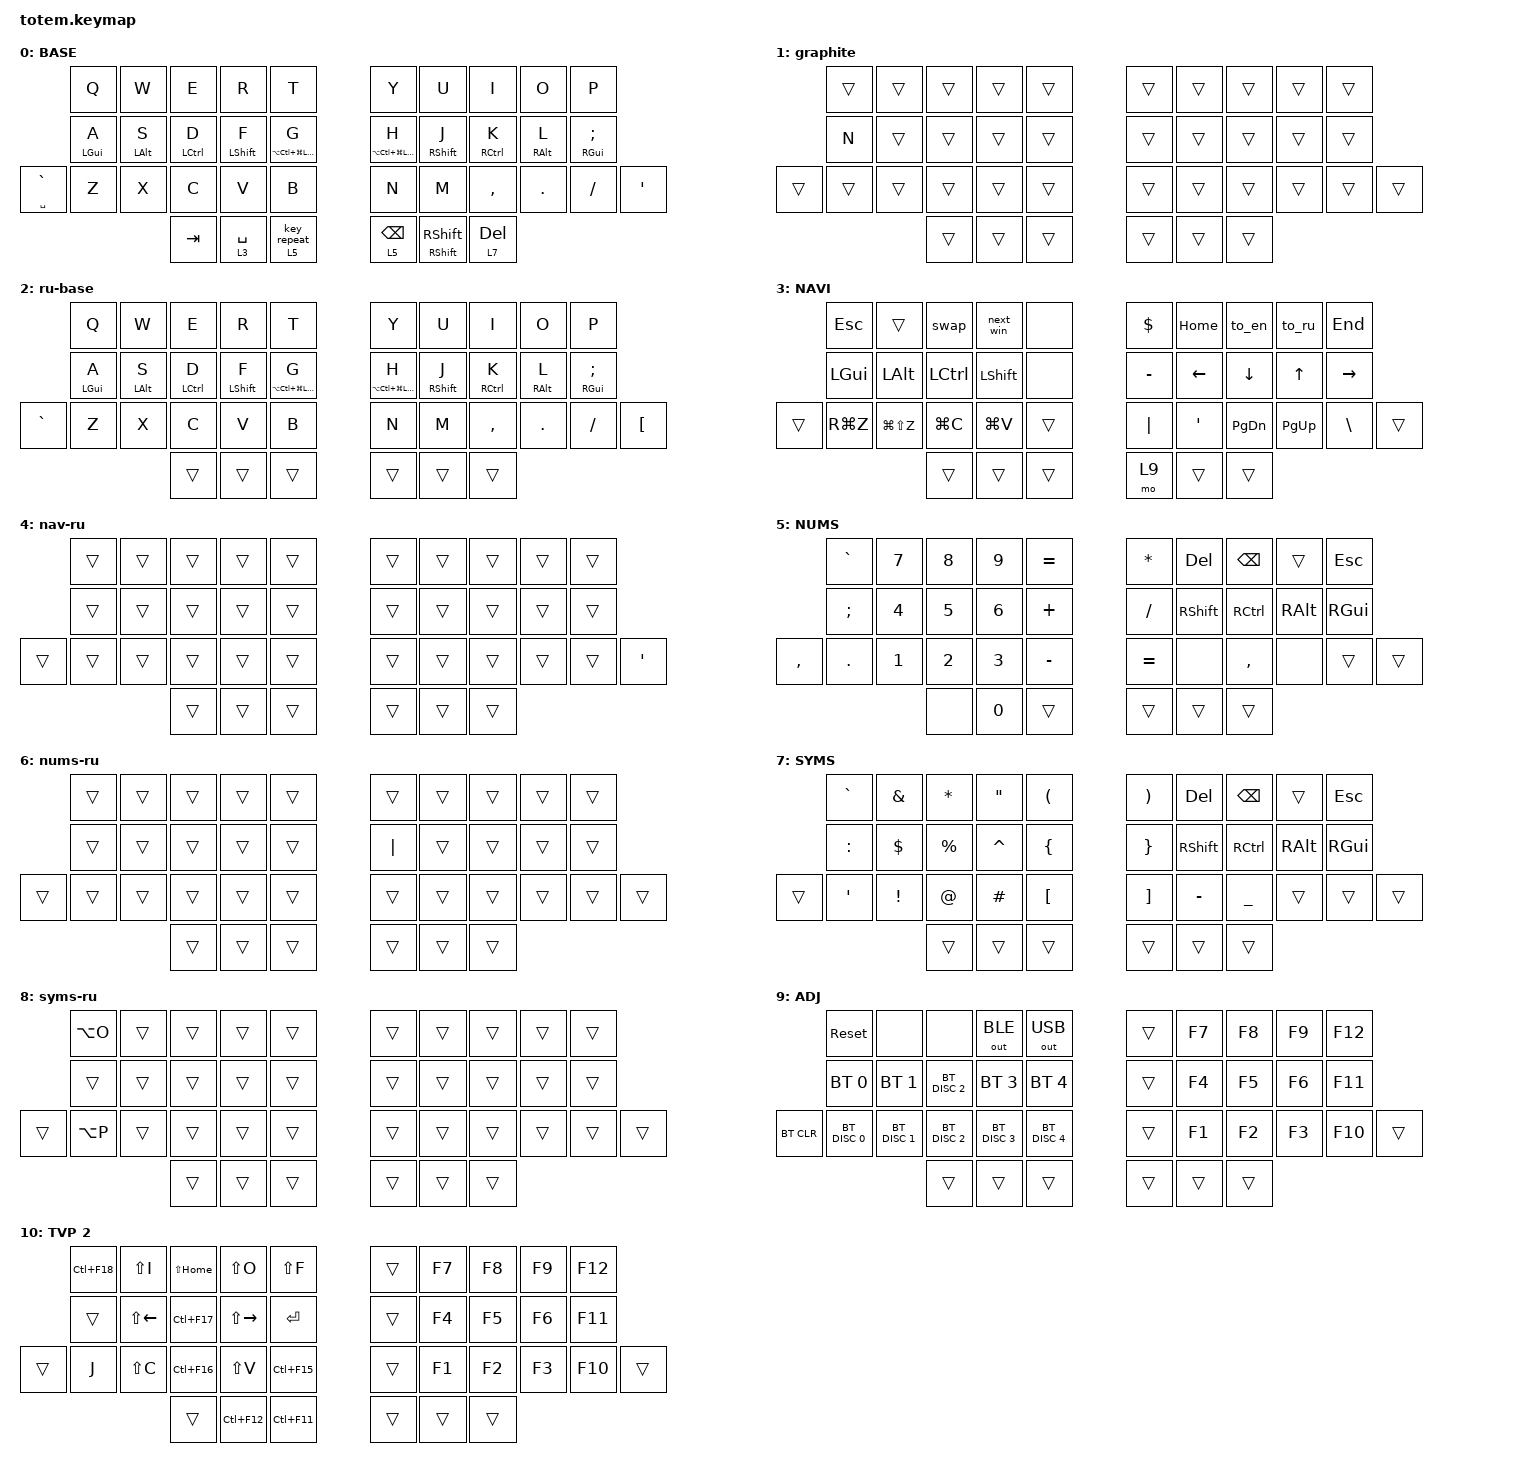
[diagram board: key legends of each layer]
//
//                                                        ▀▀▀▀▀     ▀▀▀▀▀          ▀▀█▀▀
//                                                        ▄▀▀▀▄  ▄  ▄▀▀▀▄  ▄  ▄▀▀▀▄  █  ▄▀▀▀▄
//                                                        █   █  █  █   █  █  █   █  █  █   █
//                                                         ▀▀▀   █   ▀▀▀   █   ▀▀▀   ▀   ▀▀▀
//                                                               █      ▄▄▄█▄▄▄    █   █  
//                                                               ▀      █  █  █     █▄█
//                                                             ▀▀▀▀▀    █  █  █      ▀
//                                                                      ▀  ▀  ▀
//
// ▄▄▄▄▄▄▄▄▄▄▄▄▄▄▄▄▄▄▄▄▄▄▄▄▄▄▄▄▄▄▄▄▄▄▄▄▄▄▄▄▄▄▄▄▄▄▄▄▄▄▄▄▄▄▄▄▄▄▄▄▄▄▄▄▄▄▄▄▄▄▄▄▄▄▄▄▄▄▄▄▄▄▄▄▄▄▄▄▄▄▄▄▄▄▄▄▄▄▄▄▄▄▄▄▄▄▄▄▄▄▄▄▄▄▄▄▄▄▄▄▄▄▄▄▄▄▄▄▄▄▄▄▄▄▄▄▄▄▄▄▄▄▄▄▄▄▄▄▄

#define HOST_OS 2

#include <zmk-helpers/helper.h>

// Source unicode-chars for desired languages

#include <zmk-helpers/unicode-chars/german.dtsi>
#include <behaviors.dtsi>
#include <dt-bindings/zmk/bt.h>
#include <dt-bindings/zmk/keys.h>
#include <dt-bindings/zmk/outputs.h>

#define BASE 0
#define NAV  1
#define SYM  2
#define ADJ  3
#define TVP1 4
#define TVP2 5

&mt {
    quick-tap-ms = <100>;
    global-quick-tap;
    flavor = "tap-preferred";
    tapping-term-ms = <170>;
};

#define COMBO_REQUIRE_PRIOR_IDLE_MS 100
#define LEFT_KEYS  0 1 2 3 4 10 11 12 13 14 20 21 22 23 24 25
#define RIGHT_KEYS 5 6 7 8 9 15 16 17 18 19 26 27 28 29 30 31
#define LEFT_THUMBS  32 33 34
#define RIGHT_THUMBS 35 36 37
#define THUMBS LEFT_THUMBS RIGHT_THUMBS

/ {
    behaviors {
        lht: left_positional_hold_tap {
            compatible = "zmk,behavior-hold-tap";
            flavor = "balanced";
            tapping-term-ms = <250>;
            quick-tap-ms = <175>;
            require-prior-idle-ms = <150>;
            bindings = <&kp>, <&kp>;

            hold-trigger-on-release;
            hold-trigger-key-positions = <RIGHT_KEYS THUMBS>;
            #binding-cells = <2>;
        };

        rht: right_positional_hold_tap {
            compatible = "zmk,behavior-hold-tap";
            flavor = "balanced";
            tapping-term-ms = <280>;
            quick-tap-ms = <175>;
            require-prior-idle-ms = <150>;
            bindings = <&kp>, <&kp>;

            hold-trigger-on-release;
            hold-trigger-key-positions = <LEFT_KEYS THUMBS>;
            #binding-cells = <2>;
        };

        /* ───── Magic Shift: tap = sticky, hold = normal ───── */

        hs: hold_sticky {
            compatible = "zmk,behavior-hold-tap";
            #binding-cells = <2>;
            flavor = "hold-preferred";
            tapping-term-ms = <200>;
            bindings = <&kp>, <&sk>;

            display-name = "Hold-Sticky";
        };

        mod_repeat: mod_repeat {
            compatible = "zmk,behavior-hold-tap";
            bindings = <&mo>, <&key_repeat>;

            #binding-cells = <2>;
            tapping-term-ms = <200>;
            quick-tap-ms = <175>;
        };

        swap: swapper {
            compatible = "zmk,behavior-tri-state";
            #binding-cells = <0>;
            bindings = <&kt LGUI>, <&kp TAB>, <&kt LGUI>;

            ignored-key-positions = <16 17 18 19>;
        };

        next_win: next_window {
            compatible = "zmk,behavior-tri-state";
            #binding-cells = <0>;
            bindings = <&kt LGUI>, <&kp GRAVE>, <&kt LGUI>;

            ignored-key-positions = <16 17 18 19>;
        };

        leader: leader {
            compatible = "zmk,behavior-leader-key";
            #binding-cells = <0>;

            de_ae {
                sequence = <A E>;
                bindings = <&de_ae>;
            };

            de_oe {
                sequence = <O E>;
                bindings = <&de_oe>;
            };

            de_ue {
                sequence = <U E>;
                bindings = <&de_ue>;
            };
        };
    };

    combos {
        compatible = "zmk,combos";

        combo_esc {
            timeout-ms = <50>;
            key-positions = <0 1>;
            bindings = <&kp ESC>;
            require-prior-idle-ms = <COMBO_REQUIRE_PRIOR_IDLE_MS>;
        };

        enter {
            bindings = <&kp ENTER>;
            key-positions = <16 17 18>;
            require-prior-idle-ms = <COMBO_REQUIRE_PRIOR_IDLE_MS>;
        };

        minus {
            bindings = <&kp MINUS>;
            key-positions = <7 8>;
            require-prior-idle-ms = <COMBO_REQUIRE_PRIOR_IDLE_MS>;
        };

        left-bracket {
            bindings = <&kp LEFT_BRACKET>;
            key-positions = <27 28>;
        };

        right_bracket {
            bindings = <&kp RIGHT_BRACKET>;
            key-positions = <28 29>;
        };

        tab {
            bindings = <&kp TAB>;
            key-positions = <11 12 13>;
        };

        caps-word {
            bindings = <&caps_word>;
            key-positions = <13 16>;
        };

        left_par {
            bindings = <&kp LEFT_PARENTHESIS>;
            key-positions = <22 23>;
        };

        leader {
            bindings = <&leader>;
            key-positions = <11 12>;
        };

        right_par {
            bindings = <&kp RIGHT_PARENTHESIS>;
            key-positions = <23 24>;
        };
    };

    macros {
        gif: gif {
            label = "giphy";
            compatible = "zmk,behavior-macro";
            #binding-cells = <0>;
            bindings =
                <&macro_press>,
                <&kp LSHFT>,
                <&macro_tap>,
                <&kp N2>,
                <&macro_release>,
                <&kp LSHFT>,
                <&macro_tap>,
                <&kp G &kp I &kp F>;
        };

        to_en: to_en {
            compatible = "zmk,behavior-macro";
            #binding-cells = <0>;
            bindings = <&kp LS(LC(LA(F18))) &to 0>;
            label = "TO_EN";
        };

        to_ru: to_ru {
            compatible = "zmk,behavior-macro";
            #binding-cells = <0>;
            bindings = <&kp LS(LA(LC(F19))) &to 2>;
            label = "TO_RU";
        };
    };

    keymap {
        compatible = "zmk,keymap";

        // ▄▄▄▄▄▄▄▄▄▄▄▄▄▄▄▄▄▄▄▄▄▄▄▄▄▄▄▄▄▄▄▄▄▄▄▄▄▄▄▄▄▄▄▄▄▄▄▄▄▄▄▄▄▄▄▄▄▄▄▄▄▄▄▄▄▄▄▄▄▄▄▄▄▄▄▄▄▄▄▄▄▄▄▄▄▄▄▄▄▄▄▄▄▄▄▄▄▄▄▄▄▄▄▄▄▄▄▄▄▄▄▄▄▄▄▄▄▄▄▄▄▄▄▄▄▄▄▄▄▄▄▄▄▄▄▄▄▄▄▄▄▄▄▄▄▄▄▄▄

        qwerty_layer {
            // ┏━━━━━━━━━━━━━━━━━━━━━━━━━━━━━━━━━━━━━━━┓

            label = "BASE";

            // ┗━━━━━━━━━━━━━━━━━━━━━━━━━━━━━━━━━━━━━━━┛
            //             ┏━━━━━━━━━━━┳━━━━━━━━━━━┳━━━━━━━━━━━┳━━━━━━━━━━━┳━━━━━━━━━━━┓   ┏━━━━━━━━━━━┳━━━━━━━━━━━┳━━━━━━━━━━━┳━━━━━━━━━━━┳━━━━━━━━━━━┓
            //             ┃     Q     ┃     W     ┃     F     ┃     P     ┃     G     ┃   ┃     J     ┃     L     ┃     U     ┃     Y     ┃     ;     ┃
            //             ┣━━━━━━━━━━━╋━━━━━━━━━━━╋━━━━━━━━━━━╋━━━━━━━━━━━╋━━━━━━━━━━━┫   ┣━━━━━━━━━━━╋━━━━━━━━━━━╋━━━━━━━━━━━╋━━━━━━━━━━━╋━━━━━━━━━━━┫
            //             ┃     A     ┃     R     ┃     S     ┃     T     ┃     D     ┃   ┃     H     ┃     N     ┃     E     ┃     I     ┃     O     ┃
            // ┏━━━━━━━━━━━╋━━━━━━━━━━━╋━━━━━━━━━━━╋━━━━━━━━━━━╋━━━━━━━━━━━╋━━━━━━━━━━━┫   ┣━━━━━━━━━━━╋━━━━━━━━━━━╋━━━━━━━━━━━╋━━━━━━━━━━━╋━━━━━━━━━━━╋━━━━━━━━━━━┓
            // ┃     Q     ┃     Z     ┃     X     ┃     C     ┃     V     ┃     B     ┃   ┃     K     ┃     M     ┃     ,     ┃     .     ┃     /     ┃     \     ┃
            // ┗━━━━━━━━━━━┻━━━━━━━━━━━┻━━━━━━━━━━━╋━━━━━━━━━━━╋━━━━━━━━━━━╋━━━━━━━━━━━┫   ┣━━━━━━━━━━━╋━━━━━━━━━━━╋━━━━━━━━━━━╋━━━━━━━━━━━┻━━━━━━━━━━━┻━━━━━━━━━━━┛
            //                                     ┃    DEL    ┃    TAB    ┃    SPC    ┃   ┃   ENTER   ┃           ┃   BSPC    ┃
            //                                     ┗━━━━━━━━━━━┻━━━━━━━━━━━┻━━━━━━━━━━━┛   ┗━━━━━━━━━━━┻━━━━━━━━━━━┻━━━━━━━━━━━┛

            bindings = <
                 &kp Q        &kp W        &kp E         &kp R         &kp T                            &kp Y                          &kp U                        &kp I         &kp O        &kp P
                 &lht LGUI A  &lht LALT S  &lht LCTRL D  &lht LSHFT F  &lht LA(LC(LG(LEFT_SHIFT))) G    &rht LA(LC(LG(LEFT_SHIFT))) H  &rht RSHFT J                 &rht RCTRL K  &rht RALT L  &rht RGUI SEMICOLON
&mt SPACE GRAVE  &kp Z        &kp X        &kp C         &kp V         &kp B                            &kp N                          &kp M                        &kp COMMA     &kp DOT      &kp FSLH             &kp APOSTROPHE
                                           &kp TAB       &lt 3 SPACE   &mod_repeat 5 0                  &lt 5 BACKSPACE                &hs RIGHT_SHIFT RIGHT_SHIFT  &lt 7 DELETE
            >;
        };

        graphite {
            bindings = <
        &trans  &trans  &trans  &trans  &trans    &trans  &trans  &trans  &trans  &trans
        &kp N   &trans  &trans  &trans  &trans    &trans  &trans  &trans  &trans  &trans
&trans  &trans  &trans  &trans  &trans  &trans    &trans  &trans  &trans  &trans  &trans  &trans
                        &trans  &trans  &trans    &trans  &trans  &trans
            >;
        };

        ru_layer {
            label = "ru-base";
            bindings = <
           &kp Q        &kp W        &kp E         &kp R         &kp T                            &kp Y                          &kp U         &kp I         &kp O        &kp P
           &lht LGUI A  &lht LALT S  &lht LCTRL D  &lht LSHFT F  &lht LA(LC(LG(LEFT_SHIFT))) G    &rht LA(LC(LG(LEFT_SHIFT))) H  &rht RSHFT J  &rht RCTRL K  &rht RALT L  &rht RGUI SEMICOLON
&kp GRAVE  &kp Z        &kp X        &kp C         &kp V         &kp B                            &kp N                          &kp M         &kp COMMA     &kp DOT      &kp FSLH             &kp LEFT_BRACKET
                                     &trans        &trans        &trans                           &trans                         &trans        &trans
            >;
        };

        nav_layer {
            // ┏━━━━━━━━━━━━━━━━━━━━━━━━━━━━━━━━━━━━━━━┓

            label = "NAVI";

            // ┗━━━━━━━━━━━━━━━━━━━━━━━━━━━━━━━━━━━━━━━┛
            //             ┏━━━━━━━━━━━┳━━━━━━━━━━━┳━━━━━━━━━━━┳━━━━━━━━━━━┳━━━━━━━━━━━┓   ┏━━━━━━━━━━━┳━━━━━━━━━━━┳━━━━━━━━━━━┳━━━━━━━━━━━┳━━━━━━━━━━━┓
            //             ┃           ┃           ┃     UP    ┃           ┃     {     ┃   ┃     }     ┃     7     ┃     8     ┃     9     ┃     +     ┃
            //             ┣━━━━━━━━━━━╋━━━━━━━━━━━╋━━━━━━━━━━━╋━━━━━━━━━━━╋━━━━━━━━━━━┫   ┣━━━━━━━━━━━╋━━━━━━━━━━━╋━━━━━━━━━━━╋━━━━━━━━━━━╋━━━━━━━━━━━┫
            //             ┃   SHIFT   ┃   LEFT    ┃    DOWN   ┃   RIGHT   ┃     [     ┃   ┃     ]     ┃     4     ┃     5     ┃     6     ┃     -     ┃
            // ┏━━━━━━━━━━━╋━━━━━━━━━━━╋━━━━━━━━━━━╋━━━━━━━━━━━╋━━━━━━━━━━━╋━━━━━━━━━━━┫   ┣━━━━━━━━━━━╋━━━━━━━━━━━╋━━━━━━━━━━━╋━━━━━━━━━━━╋━━━━━━━━━━━╋━━━━━━━━━━━┓
            // ┃           ┃           ┃   P UP    ┃  C LOCK   ┃  P DOWN   ┃     (     ┃   ┃     )     ┃     1     ┃     2     ┃     3     ┃     *     ┃           ┃
            // ┗━━━━━━━━━━━┻━━━━━━━━━━━┻━━━━━━━━━━━╋━━━━━━━━━━━╋━━━━━━━━━━━╋━━━━━━━━━━━┫   ┣━━━━━━━━━━━╋━━━━━━━━━━━╋━━━━━━━━━━━╋━━━━━━━━━━━┻━━━━━━━━━━━┻━━━━━━━━━━━┛
            //                                     ┃           ┃    TAB    ┃    SPC    ┃   ┃    DEL    ┃     0     ┃           ┃
            //                                     ┗━━━━━━━━━━━┻━━━━━━━━━━━┻━━━━━━━━━━━┛   ┗━━━━━━━━━━━┻━━━━━━━━━━━┻━━━━━━━━━━━┛

            bindings = <
        &kp ESC    &trans         &swap      &next_win  &none     &kp DOLLAR  &kp HOME        &to_en          &to_ru        &kp END
        &kp LGUI   &kp LALT       &kp LCTRL  &kp LSHFT  &none     &kp MINUS   &kp LEFT_ARROW  &kp DOWN_ARROW  &kp UP_ARROW  &kp RIGHT_ARROW
&trans  &kp RG(Z)  &kp LG(LS(Z))  &kp LG(C)  &kp LG(V)  &trans    &kp PIPE    &kp SQT         &kp PAGE_DOWN   &kp PAGE_UP   &kp BACKSLASH    &trans
                                  &trans     &trans     &trans    &mo 9       &trans          &trans
            >;
        };

        nav-ru {
            bindings = <
        &trans  &trans  &trans  &trans  &trans    &trans  &trans  &trans  &trans  &trans
        &trans  &trans  &trans  &trans  &trans    &trans  &trans  &trans  &trans  &trans
&trans  &trans  &trans  &trans  &trans  &trans    &trans  &trans  &trans  &trans  &trans  &kp SQT
                        &trans  &trans  &trans    &trans  &trans  &trans
            >;
        };

        nums_layer {
            label = "NUMS";
            bindings = <
           &kp GRAVE      &kp NUMBER_7  &kp NUMBER_8  &kp NUMBER_9  &kp EQUAL    &kp ASTERISK  &kp DELETE  &kp BACKSPACE  &trans    &kp ESCAPE
           &kp SEMICOLON  &kp NUMBER_4  &kp NUMBER_5  &kp NUMBER_6  &kp PLUS     &kp SLASH     &kp RSHFT   &kp RCTRL      &kp RALT  &kp RGUI
&kp COMMA  &kp PERIOD     &kp NUMBER_1  &kp NUMBER_2  &kp NUMBER_3  &kp MINUS    &kp EQUAL     &none       &kp COMMA      &none     &trans      &trans
                                        &none         &kp N0        &trans       &trans        &trans      &trans
            >;
        };

        nums-ru {
            bindings = <
        &trans  &trans  &trans  &trans  &trans    &trans    &trans  &trans  &trans  &trans
        &trans  &trans  &trans  &trans  &trans    &kp PIPE  &trans  &trans  &trans  &trans
&trans  &trans  &trans  &trans  &trans  &trans    &trans    &trans  &trans  &trans  &trans  &trans
                        &trans  &trans  &trans    &trans    &trans  &trans
            >;
        };

        sym_layer {
            label = "SYMS";
            bindings = <
        &kp GRAVE  &kp AMPERSAND    &kp ASTERISK  &kp DOUBLE_QUOTES  &kp LEFT_PARENTHESIS    &kp RIGHT_PARENTHESIS  &kp DELETE  &kp BACKSPACE  &trans    &kp ESCAPE
        &kp COLON  &kp DOLLAR       &kp PERCENT   &kp CARET          &kp LEFT_BRACE          &kp RIGHT_BRACE        &kp RSHFT   &kp RCTRL      &kp RALT  &kp RGUI
&trans  &kp SQT    &kp EXCLAMATION  &kp AT_SIGN   &kp HASH           &kp LEFT_BRACKET        &kp RIGHT_BRACKET      &kp MINUS   &kp UNDER      &trans    &trans      &trans
                                    &trans        &trans             &trans                  &trans                 &trans      &trans
            >;
        };

        syms-ru {
            bindings = <
        &kp LA(O)  &trans  &trans  &trans  &trans    &trans  &trans  &trans  &trans  &trans
        &trans     &trans  &trans  &trans  &trans    &trans  &trans  &trans  &trans  &trans
&trans  &kp LA(P)  &trans  &trans  &trans  &trans    &trans  &trans  &trans  &trans  &trans  &trans
                           &trans  &trans  &trans    &trans  &trans  &trans
            >;
        };

        adjust_layer {
            // ┏━━━━━━━━━━━━━━━━━━━━━━━━━━━━━━━━━━━━━━━┓

            label = "ADJ";

            // ┗━━━━━━━━━━━━━━━━━━━━━━━━━━━━━━━━━━━━━━━┛
            //             ┏━━━━━━━━━━━┳━━━━━━━━━━━┳━━━━━━━━━━━┳━━━━━━━━━━━┳━━━━━━━━━━━┓   ┏━━━━━━━━━━━┳━━━━━━━━━━━┳━━━━━━━━━━━┳━━━━━━━━━━━┳━━━━━━━━━━━┓
            //             ┃   RESET   ┃ BT CLEAR  ┃  OUT TOG  ┃           ┃           ┃   ┃           ┃    F7     ┃    F8     ┃    F9     ┃    F12    ┃
            //             ┣━━━━━━━━━━━╋━━━━━━━━━━━╋━━━━━━━━━━━╋━━━━━━━━━━━╋━━━━━━━━━━━┫   ┣━━━━━━━━━━━╋━━━━━━━━━━━╋━━━━━━━━━━━╋━━━━━━━━━━━╋━━━━━━━━━━━┫
            //             ┃ BOOTLOAD  ┃ BT NEXT   ┃           ┃           ┃           ┃   ┃           ┃    F4     ┃    F5     ┃    F6     ┃    F11    ┃
            // ┏━━━━━━━━━━━╋━━━━━━━━━━━╋━━━━━━━━━━━╋━━━━━━━━━━━╋━━━━━━━━━━━╋━━━━━━━━━━━┫   ┣━━━━━━━━━━━╋━━━━━━━━━━━╋━━━━━━━━━━━╋━━━━━━━━━━━╋━━━━━━━━━━━╋━━━━━━━━━━━┓
            // ┃           ┃           ┃ BT PREV   ┃           ┃           ┃           ┃   ┃           ┃    F1     ┃    F2     ┃    F3     ┃    F10    ┃           ┃
            // ┗━━━━━━━━━━━┻━━━━━━━━━━━┻━━━━━━━━━━━╋━━━━━━━━━━━╋━━━━━━━━━━━╋━━━━━━━━━━━┫   ┣━━━━━━━━━━━╋━━━━━━━━━━━╋━━━━━━━━━━━╋━━━━━━━━━━━┻━━━━━━━━━━━┻━━━━━━━━━━━┛
            //                                     ┃           ┃           ┃           ┃   ┃           ┃           ┃           ┃
            //                                     ┗━━━━━━━━━━━┻━━━━━━━━━━━┻━━━━━━━━━━━┛   ┗━━━━━━━━━━━┻━━━━━━━━━━━┻━━━━━━━━━━━┛

            bindings = <
            &sys_reset     &none          &none          &out OUT_BLE   &out OUT_USB     &trans  &kp F7  &kp F8  &kp F9  &kp F12
            &bt BT_SEL 0   &bt BT_SEL 1   &bt BT_DISC 2  &bt BT_SEL 3   &bt BT_SEL 4     &trans  &kp F4  &kp F5  &kp F6  &kp F11
&bt BT_CLR  &bt BT_DISC 0  &bt BT_DISC 1  &bt BT_DISC 2  &bt BT_DISC 3  &bt BT_DISC 4    &trans  &kp F1  &kp F2  &kp F3  &kp F10  &trans
                                          &trans         &trans         &trans           &trans  &trans  &trans
            >;
        };

        tvp2_layer {
            // ┏━━━━━━━━━━━━━━━━━━━━━━━━━━━━━━━━━━━━━━━┓

            label = "TVP 2";

            // ┗━━━━━━━━━━━━━━━━━━━━━━━━━━━━━━━━━━━━━━━┛
            //             ┏━━━━━━━━━━━┳━━━━━━━━━━━┳━━━━━━━━━━━┳━━━━━━━━━━━┳━━━━━━━━━━━┓   ┏━━━━━━━━━━━┳━━━━━━━━━━━┳━━━━━━━━━━━┳━━━━━━━━━━━┳━━━━━━━━━━━┓
            //             ┃ SOLO      ┃ TOGGLE IN ┃ RESET ROT ┃ TOGGLE OUT┃ TAKE SNAP ┃   ┃           ┃           ┃           ┃           ┃           ┃
            //             ┣━━━━━━━━━━━╋━━━━━━━━━━━╋━━━━━━━━━━━╋━━━━━━━━━━━╋━━━━━━━━━━━┫   ┣━━━━━━━━━━━╋━━━━━━━━━━━╋━━━━━━━━━━━╋━━━━━━━━━━━╋━━━━━━━━━━━┫
            //             ┃ ---       ┃ LAST KEY  ┃ NEW KEY   ┃ NEXT KEY  ┃ ENTER     ┃   ┃           ┃           ┃           ┃           ┃           ┃
            // ┏━━━━━━━━━━━╋━━━━━━━━━━━╋━━━━━━━━━━━╋━━━━━━━━━━━╋━━━━━━━━━━━╋━━━━━━━━━━━┫   ┣━━━━━━━━━━━╋━━━━━━━━━━━╋━━━━━━━━━━━╋━━━━━━━━━━━╋━━━━━━━━━━━╋━━━━━━━━━━━┓
            // ┃           ┃ FULLSCR   ┃ CPY2BRUSH ┃ DEL HEAD  ┃ PSTinPLACE┃ BOOK MARK ┃   ┃           ┃           ┃           ┃           ┃           ┃           ┃
            // ┗━━━━━━━━━━━┻━━━━━━━━━━━┻━━━━━━━━━━━╋━━━━━━━━━━━╋━━━━━━━━━━━╋━━━━━━━━━━━┫   ┣━━━━━━━━━━━╋━━━━━━━━━━━╋━━━━━━━━━━━╋━━━━━━━━━━━┻━━━━━━━━━━━┻━━━━━━━━━━━┛
            //                                     ┃           ┃ REDO/SAV1 ┃TRANS/WARP ┃   ┃           ┃           ┃           ┃
            //                                     ┗━━━━━━━━━━━┻━━━━━━━━━━━┻━━━━━━━━━━━┛   ┗━━━━━━━━━━━┻━━━━━━━━━━━┻━━━━━━━━━━━┛

            bindings = <
        &kp LC(F18)  &kp LS(I)     &kp LS(HOME)  &kp LS(O)      &kp LS(F)      &trans  &kp F7  &kp F8  &kp F9  &kp F12
        &trans       &kp LS(LEFT)  &kp LC(F17)   &kp LS(RIGHT)  &kp RET        &trans  &kp F4  &kp F5  &kp F6  &kp F11
&trans  &kp J        &kp LS(C)     &kp LC(F16)   &kp LS(V)      &kp LC(F15)    &trans  &kp F1  &kp F2  &kp F3  &kp F10  &trans
                                   &trans        &kp LC(F12)    &kp LC(F11)    &trans  &trans  &trans
            >;
        };
    };

    conditional_layers {
        compatible = "zmk,conditional-layers";

        nums-ru {
            if-layers = <2 5>;
            then-layer = <6>;
        };

        syms-ru {
            if-layers = <2 7>;
            then-layer = <8>;
        };

        nav-ru {
            if-layers = <2 3>;
            then-layer = <4>;
        };
    };
};
